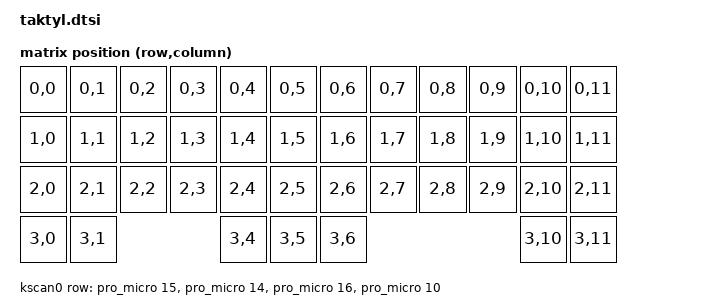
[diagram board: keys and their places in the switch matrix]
#include <dt-bindings/zmk/matrix_transform.h>
#include <zephyr/dt-bindings/input/input-event-codes.h>

/ {
    chosen {
        zmk,kscan = &kscan0;
        zmk,matrix-transform = &default_transform;
    };

    kscan0: kscan_0 {
        compatible = "zmk,kscan-gpio-matrix";
        diode-direction = "col2row";
        wakeup-source;

        row-gpios = <&pro_micro 15 (GPIO_ACTIVE_HIGH | GPIO_PULL_DOWN)>,
                    <&pro_micro 14 (GPIO_ACTIVE_HIGH | GPIO_PULL_DOWN)>,
                    <&pro_micro 16 (GPIO_ACTIVE_HIGH | GPIO_PULL_DOWN)>,
                    <&pro_micro 10 (GPIO_ACTIVE_HIGH | GPIO_PULL_DOWN)>;
    };

    default_transform: keymap_transform_0 {
        compatible = "zmk,matrix-transform";
        rows = <4>;
        columns = <12>;

        map = <
            RC(0,0) RC(0,1) RC(0,2) RC(0,3) RC(0,4) RC(0,5)  RC(0,6) RC(0,7) RC(0,8) RC(0,9) RC(0,10) RC(0,11)
            RC(1,0) RC(1,1) RC(1,2) RC(1,3) RC(1,4) RC(1,5)  RC(1,6) RC(1,7) RC(1,8) RC(1,9) RC(1,10) RC(1,11)
            RC(2,0) RC(2,1) RC(2,2) RC(2,3) RC(2,4) RC(2,5)  RC(2,6) RC(2,7) RC(2,8) RC(2,9) RC(2,10) RC(2,11)
            RC(3,0) RC(3,1)                 RC(3,4) RC(3,5)  RC(3,6)                         RC(3,10) RC(3,11)
        >;
    };
    
    trackpad_listener: trackpad_listener {
		compatible = "zmk,input-listener";
        status = "disabled";
        mode = "trackpad";
		device = <&trackpad>;
    };    

    joystick_listener: joystick_listener {
        compatible = "zmk,input-listener";
        status = "disabled";
    };
};

&pro_micro_i2c {
	status = "okay";
    clock-frequency = <I2C_BITRATE_FAST>;

	trackpad: iqs5xx@74 {
        status = "disabled";
        compatible = "azoteq,iqs5xx";
        reg = <0x74>;

        /* Mode PTP : pas de gestes materiels (tap, scroll, zoom).
         * Windows interprete lui-meme les doigts. */
        palm_rejection;
        max_touch_number = <5>;

        /* Doit rester identique a CONFIG_ZMK_TRACKPAD_LOGICAL_X / _Y
         * (Kconfig.defconfig). */

		resolution_x = <1920>;
  		resolution_y = <1200>;

        /* 8 ms = 125 Hz, minimum demande par Windows pour un PTP. */
        report_rate_active_mode = <6>;

        bottom-beta = <5>;
        stationary-threshold = <5>;

        switch-xy;

        reset-gpios = <&pro_micro 18 GPIO_ACTIVE_LOW>; /* P0.10 */
        rdy-gpios = <&pro_micro 19 GPIO_ACTIVE_HIGH>; /* P1.11 */
    };
};
